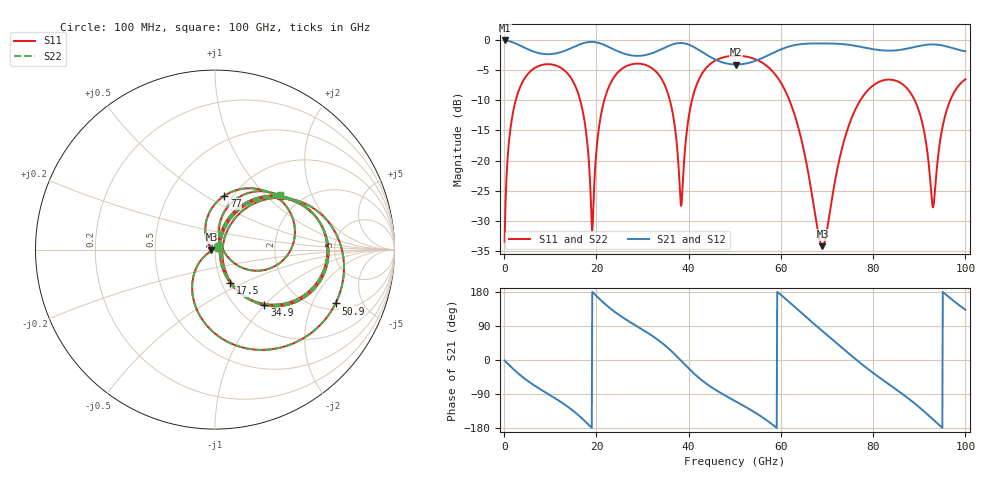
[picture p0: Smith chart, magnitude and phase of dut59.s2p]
! Touchstone file exported from HFSS 2026.1.0
!  File:  C:/ffzhzh/LocalFiles/Ansys_Project_Files/temp_train_TSV_RDL_59_1783447036_28540.aedt
!  Generated:  02:09:10 AM Jul  8, 2026
!  Design:  TSV_RDL
!  Project:  temp_train_TSV_RDL_59_1783447036_28540
! Variables:
!  h_bsmrdl = 4.12um
!  h_ox = 20um
!  h_rdl = 5um
!  h_sub = 84.68um
!  h_tmrdl = 3.74um
!  h_tsv = 84.68um
!  h_via = 3um
!  l_bsmrdl = 661.05um
!  l_sub = 3115.65um
!  l_tmrdl = 154.07um
!  m_sub = 200um
!  pitch = 55.4um
!  r_tsv = 5.92um
!  s_tmrdl = 10um
!  w_bsmrdl = 15.79um
!  w_sub = 500um
!  w_tmrdl = 22.95um
!  x_tsv_center1 = 165.545um
!  x_tsv_center2 = 842.385um
!  x_tsv_center3 = 1019.405um
!  x_tsv_center4 = 1696.245um
!  x_tsv_center5 = 1873.265um
!  x_tsv_center6 = 2550.105um
# GHz S MA R 50.000000
! Terminal data exported
! Port[1] = TM_RDL1_1_T1
! Port[2] = TM_RDL5_1_T1
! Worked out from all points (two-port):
!   1000 points, 100 MHz to 100 GHz, reference 50 ohm
!   highest |S21| = -0.14 dB at 100 MHz (marker M1); lowest = -4.1 dB at 50.3 GHz (marker M2)
!   |S21| within 3 dB of the highest: start of sweep to 45.36 GHz; 55.68 GHz to end of sweep
!   lowest |S11| = -34.2 dB at 69 GHz (marker M3), VSWR 1.04, Z = 48.1 - j0.0555 ohm
!   |S11| at or under -10 dB: 16.48 GHz to 21.72 GHz (5.239 GHz wide, 27.4 % of centre); 61.83 GHz to 77.25 GHz (15.42 GHz wide, 22.2 % of centre); 88.99 GHz to 96.73 GHz (7.742 GHz wide, 8.34 % of centre) (the widest 3 of 5)
!   |S22| runs from -34.1 to -2.7 dB; largest |S21 - S12| = 4.4e-13
!   S11 on the Smith chart (normalised r, x): 100 MHz: 1.03, +0.03; 17.5 GHz: 1.10, -0.43; 34.9 GHz: 1.33, -1.00; 50.9 GHz: 2.32, -3.03; 77 GHz: 0.92, +0.61; 100 GHz: 1.56, +1.20
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0.1  0.02139 41.0  0.9841 -1.3  0.9841 -1.3  0.02139 41.0
! Gamma 0 0 0 0
! Port Impedance 50 0 50 0
1.6  0.2122 65.4  0.958 -19.4  0.958 -19.4  0.2122 65.4
4.6  0.4886 36.8  0.8501 -50.6  0.8501 -50.6  0.4886 36.8
16.8  0.2828 -59.9  0.9245 -153.3  0.9245 -153.3  0.2828 -59.8
17.5  0.2038 -65.5  0.942 -161.2  0.942 -161.2  0.2038 -65.5
19.1  0.02628 -0.4  0.9579 179.8  0.9579 179.8  0.02659 -0.4
23.1  0.4387 41.7  0.8539 135.3  0.8539 135.3  0.4387 41.6
33.4  0.5193 -35.6  0.8091 52.7  0.8091 52.7  0.5193 -35.8
34.9  0.4138 -48.4  0.8602 38.2  0.8602 38.2  0.4138 -48.6
38.4  0.04218 0.9  0.9373 -2.5  0.9373 -2.5  0.0404 1.0
41.9  0.4395 40.8  0.8352 -43.8  0.8352 -43.8  0.4393 41.0
50.1  0.7363 -19.0  0.6222 -108.5  0.6222 -108.5  0.7363 -19.0
50.3  0.7364 -20.3  0.6221 -109.8  0.6221 -109.8  0.7364 -20.3
50.9  0.7355 -24.1  0.623 -113.8  0.623 -113.8  0.7354 -24.1
60.4  0.414 -97.8  0.8414 167.8  0.8414 167.8  0.4139 -97.9
66.7  0.0532 -150.6  0.9286 100.3  0.9286 100.3  0.05319 -150.3
69  0.01959 -178.3  0.9297 76.3  0.9297 76.3  0.01967 -176.4
77  0.3048 80.0  0.8764 -5.8  0.8764 -5.8  0.3046 80.3
83.4  0.4673 25.4  0.8102 -64.0  0.8102 -64.0  0.4673 25.5
89.6  0.2789 -24.8  0.8797 -120.6  0.8797 -120.6  0.2789 -24.8
93  0.04099 24.1  0.9127 -157.0  0.9127 -157.0  0.04008 24.0
100  0.4696 39.8  0.8002 132.5  0.8002 132.5  0.4694 40.0
